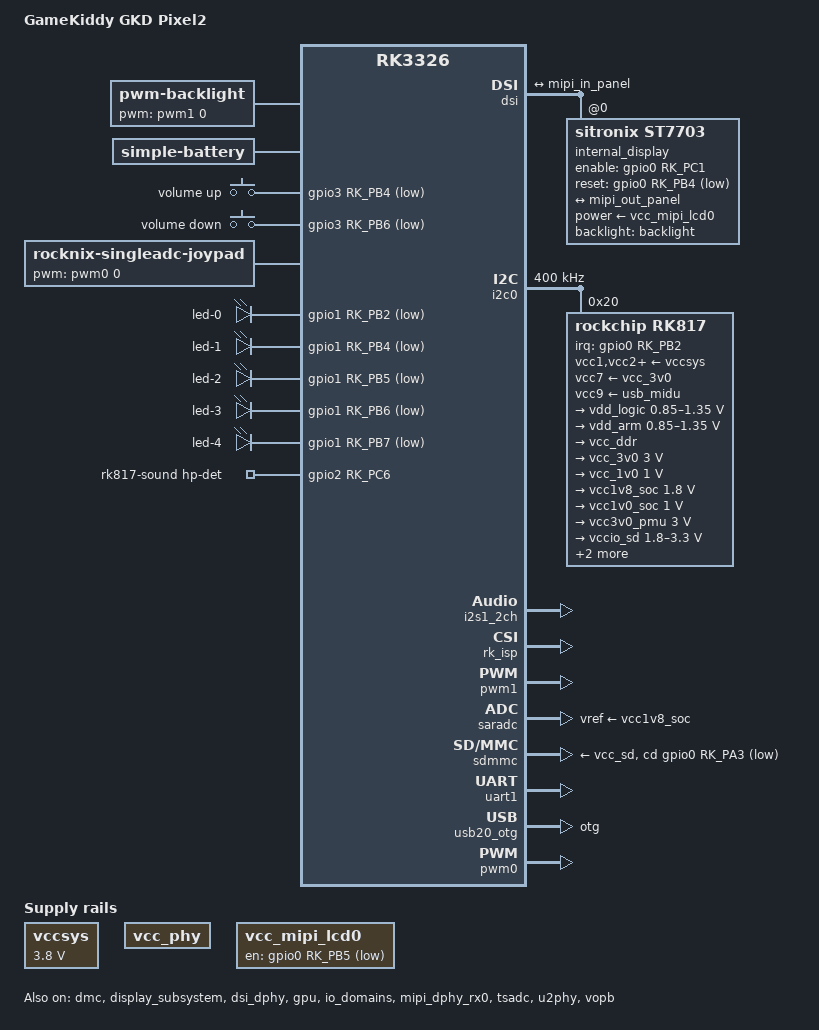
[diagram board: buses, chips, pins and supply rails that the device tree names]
// SPDX-License-Identifier: (GPL-2.0+ OR MIT)
/*
 * GameKiddy GKD Pixel 2 (RK3326S / PX30S), based on the working E6 DTS.
 *
 * Copyright (C) 2022-26 AURKNIX (https://github.com/AveyondFly)
 */

/dts-v1/;
#include <dt-bindings/display/drm_mipi_dsi.h>
#include <dt-bindings/gpio/gpio.h>
#include <dt-bindings/input/input.h>
#include <dt-bindings/leds/common.h>
#include <dt-bindings/pinctrl/rockchip.h>
#include <dt-bindings/soc/rockchip-system-status.h>
#include "rk3326.dtsi"

/ {
	model = "GameKiddy GKD Pixel2";
	compatible = "gamekiddy,gkd-pixel2", "rockchip,rk3326";
	chassis-type = "handset";
	
	aliases {
		mmc0 = &sdmmc;
		mmc1 = &emmc;
		mmc2 = &sdio;
	};
	
	chosen {
		stdout-path = "serial2:1500000n8";
	};

	reserved-memory {
		#address-cells = <2>;
		#size-cells = <2>;
		ranges;

		drm_logo: drm-logo@00000000 {
			compatible = "rockchip,drm-logo";
			reg = <0x0 0x0 0x0 0x0>;
		};

		ramoops: ramoops@110000 {
			compatible = "ramoops";
			reg = <0x0 0x110000 0x0 0xf0000>;
			record-size = <0x20000>;
			console-size = <0x80000>;
			ftrace-size = <0x0>;
			pmsg-size = <0x50000>;
		};
	};
	
	backlight: backlight {
		compatible = "pwm-backlight";
		pwms = <&pwm1 0 25000 1>;
		brightness-levels = <
		0   1   2   3   4   5   6   7
		8   9  10  11  12  13  14  15
		16  17  18  19  20  21  22  23
		24  25  26  27  28  29  30  31
		32  33  34  35  36  37  38  39
		40  41  42  43  44  45  46  47
		48  49  50  51  52  53  54  55
		56  57  58  59  60  61  62  63
		64  65  66  67  68  69  70  71
		72  73  74  75  76  77  78  79
		80  81  82  83  84  85  86  87
		88  89  90  91  92  93  94  95
		96  97  98  99 100 101 102 103
		104 105 106 107 108 109 110 111
		112 113 114 115 116 117 118 119
		120 121 122 123 124 125 126 127
		128 129 130 131 132 133 134 135
		136 137 138 139 140 141 142 143
		144 145 146 147 148 149 150 151
		152 153 154 155 156 157 158 159
		160 161 162 163 164 165 166 167
		168 169 170 171 172 173 174 175
		176 177 178 179 180 181 182 183
		184 185 186 187 188 189 190 191
		192 193 194 195 196 197 198 199
		200 201 202 203 204 205 206 207
		208 209 210 211 212 213 214 215
		216 217 218 219 220 221 222 223
		224 225 226 227 228 229 230 231
		232 233 234 235 236 237 238 239
		240 241 242 243 244 245 246 247
		248 249 250 251 252 253 254 255>;
		default-brightness-level = <200>;
	};
	
	battery: battery {
		compatible = "simple-battery";
		charge-full-design-microamp-hours = <1730000>;
		charge-term-current-microamp = <200000>;
		constant-charge-current-max-microamp = <2000000>;
		constant-charge-voltage-max-microvolt = <4350000>;
		factory-internal-resistance-micro-ohms = <111000>;
		voltage-max-design-microvolt = <4333000>;
		voltage-min-design-microvolt = <3400000>;
		
		ocv-capacity-celsius = <20>;
		ocv-capacity-table-0 =
		<4333000 100>, <4276000 95>, <4217000 90>, <4163000 85>,
		<4107000 80>, <4062000 75>, <4011000 70>, <3967000 65>,
		<3921000 60>, <3878000 55>, <3848000 50>, <3826000 45>,
		<3805000 40>, <3790000 35>, <3776000 30>, <3754000 25>,
		<3738000 20>, <3708000 15>, <3694000 10>, <3643000 5>,
		<3444000 0>;
	};
	
	keys: gpio-keys {
		compatible = "gpio-keys";
		pinctrl-names = "default";
		pinctrl-0 = <&volume_gpio>;
		autorepeat;

		vol-up-key {
			gpios = <&gpio3 RK_PB4 GPIO_ACTIVE_LOW>;
			label = "volume up";
			linux,code = <KEY_VOLUMEUP>;
		};

		vol-down-key {
			gpios = <&gpio3 RK_PB6 GPIO_ACTIVE_LOW>;
			label = "volume down";
			linux,code = <KEY_VOLUMEDOWN>;
		};
	};

	joypad: rocknix-singleadc-joypad {
		compatible = "rocknix-singleadc-joypad";

		joypad-name = "retrogame_joypad";
		joypad-product = <0x1101>;
		joypad-revision = <0x0100>;
		joypad-vendor = <0x484B>;
		status = "okay";
		pinctrl-names = "default";
		pinctrl-0 = <&btn_pins>;
		/* Pixel2 has no analog sticks; mappings below come from vendor DTSI. */
		amux-count = <0>;
		poll-interval = <10>;

		pwms = <&pwm0 0 1000000000 0>;
		pwm-names = "enable";

		sw1 {
			gpios = <&gpio3 RK_PB5 GPIO_ACTIVE_LOW>;
			label = "GPIO DPAD-UP";
			linux,code = <BTN_DPAD_UP>;
		};
		sw2 {
			gpios = <&gpio3 RK_PC4 GPIO_ACTIVE_LOW>;
			label = "GPIO DPAD-DOWN";
			linux,code = <BTN_DPAD_DOWN>;
		};
		sw3 {
			gpios = <&gpio3 RK_PB3 GPIO_ACTIVE_LOW>;
			label = "GPIO DPAD-LEFT";
			linux,code = <BTN_DPAD_LEFT>;
		};
		sw4 {
			gpios = <&gpio3 RK_PA4 GPIO_ACTIVE_LOW>;
			label = "GPIO DPAD-RIGHT";
			linux,code = <BTN_DPAD_RIGHT>;
		};
		sw5 {
			gpios = <&gpio3 RK_PD1 GPIO_ACTIVE_LOW>;
			label = "GPIO KEY BTN-A";
			linux,code = <BTN_EAST>;
		};
		sw6 {
			gpios = <&gpio3 RK_PD2 GPIO_ACTIVE_LOW>;
			label = "GPIO BTN-B";
			linux,code = <BTN_SOUTH>;
		};
		sw7 {
			gpios = <&gpio3 RK_PA6 GPIO_ACTIVE_LOW>;
			label = "GPIO BTN-Y";
			linux,code = <BTN_WEST>;
		};
		sw8 {
			gpios = <&gpio3 RK_PA5 GPIO_ACTIVE_LOW>;
			label = "GPIO BTN-X";
			linux,code = <BTN_NORTH>;
		};
		sw9 {
			gpios = <&gpio3 RK_PC5 GPIO_ACTIVE_LOW>;
			label = "GPIO BTN_MODE";
			linux,code = <BTN_MODE>;
		};
		/* Pixel2 has no stick-click switches; expose stable placeholders. */
		sw10 {
			gpios = <&gpio2 RK_PB1 GPIO_ACTIVE_LOW>;
			label = "BTN_THUMBL";
			linux,code = <BTN_THUMBL>;
		};
		sw11 {
			gpios = <&gpio3 RK_PC2 GPIO_ACTIVE_LOW>;
			label = "GPIO BTN_SELECT";
			linux,code = <BTN_SELECT>;
		};
		sw12 {
			gpios = <&gpio3 RK_PD3 GPIO_ACTIVE_LOW>;
			label = "GPIO BTN_START";
			linux,code = <BTN_START>;
		};
		sw13 {
			gpios = <&gpio2 RK_PB0 GPIO_ACTIVE_LOW>;
			label = "BTN_THUMBR";
			linux,code = <BTN_THUMBR>;
		};
		sw15 {
			gpios = <&gpio3 RK_PC0 GPIO_ACTIVE_LOW>;
			label = "GPIO TOP-LEFT";
			linux,code = <BTN_TL>;
		};
		sw16 {
			gpios = <&gpio3 RK_PB2 GPIO_ACTIVE_LOW>;
			label = "GPIO TOP-RIGHT";
			linux,code = <BTN_TR>;
		};
		sw20 {
			gpios = <&gpio3 RK_PC1 GPIO_ACTIVE_LOW>;
			label = "GPIO TOP-LEFT2";
			linux,code = <BTN_TL2>;
		};
		sw21 {
			gpios = <&gpio3 RK_PC3 GPIO_ACTIVE_LOW>;
			label = "GPIO TOP-RIGHT2";
			linux,code = <BTN_TR2>;
		};
	};
	
	
	leds: gpio-leds {
		compatible = "gpio-leds";
		pinctrl-0 = <&led_pins>;
		pinctrl-names = "default";

		led-0 {
			default-state = "on";
			gpios = <&gpio1 RK_PB2 GPIO_ACTIVE_LOW>;
			function = LED_FUNCTION_STATUS;
		};
	
		led-1 {
			default-state = "on";
			gpios = <&gpio1 RK_PB4 GPIO_ACTIVE_LOW>;
			function = LED_FUNCTION_STATUS;
		};
		
		led-2 {
			default-state = "on";
			gpios = <&gpio1 RK_PB5 GPIO_ACTIVE_LOW>;
			function = LED_FUNCTION_STATUS;
		};
		led-3 {
			default-state = "on";
			gpios = <&gpio1 RK_PB6 GPIO_ACTIVE_LOW>;
			function = LED_FUNCTION_STATUS;
		};
		led-4 {
			default-state = "on";
			gpios = <&gpio1 RK_PB7 GPIO_ACTIVE_LOW>;
			function = LED_FUNCTION_STATUS;
		};
	};
	
	
	rk817-sound {
		compatible = "rockchip,multicodecs-card";
		rockchip,card-name = "rockchip-rk817";
		hp-det-gpio = <&gpio2 RK_PC6 GPIO_ACTIVE_HIGH>;
		rocknix,auto-playback-path;
		rockchip,format = "i2s";
		rockchip,mclk-fs = <256>;
		rockchip,cpu = <&i2s1_2ch>;
		rockchip,codec = <&rk817_codec>;
		pinctrl-names = "default";
		pinctrl-0 = <&hp_det>;
		rockchip,audio-routing =
			"Headphone", "HPOL",
			"Headphone", "HPOR",
			"Speaker", "SPKO";
	};
	
	vccsys: vccsys {
		compatible = "regulator-fixed";
		regulator-name = "vcc3v8_sys";
		regulator-always-on;
		regulator-min-microvolt = <3800000>;
		regulator-max-microvolt = <3800000>;
	};
	
	vcc-phy-regulator {
		compatible = "regulator-fixed";
		regulator-name = "vcc_phy";
		regulator-always-on;
		regulator-boot-on;
	};
	
	vcc_mipi_lcd0: regulator-vcc-mipi-lcd0 {
		compatible = "regulator-fixed";
		regulator-name = "vcc_mipi_lcd0";
		gpio = <&gpio0 RK_PB5 GPIO_ACTIVE_LOW>;
		pinctrl-0 = <&vcc_mipi_lcd_n>;
		pinctrl-names = "default";
		regulator-boot-on;

		regulator-state-mem {
			regulator-off-in-suspend;
		};
	};
};

&dmc {
	center-supply = <&vdd_logic>;
	system-status-freq = <
		/* system status         freq(KHz) — px30s-dmc-opp: 194/328/666 */
		SYS_STATUS_NORMAL       666000
		SYS_STATUS_REBOOT       328000
		SYS_STATUS_SUSPEND      194000
		SYS_STATUS_VIDEO_1080P  666000
		SYS_STATUS_BOOST        666000
		SYS_STATUS_ISP          666000
		SYS_STATUS_PERFORMANCE  666000
	>;
	auto-min-freq = <328000>;
	auto-freq-en = <0>;
	status = "okay";
};

&bus_apll {
	bus-supply = <&vdd_logic>;
	status = "okay";
};

&cpu0 {
	cpu-supply = <&vdd_arm>;
};

&cpu1 {
	cpu-supply = <&vdd_arm>;
};

&cpu2 {
	cpu-supply = <&vdd_arm>;
};

&cpu3 {
	cpu-supply = <&vdd_arm>;
};

&cru {
	assigned-clocks = <&cru PLL_NPLL>,
	<&cru ACLK_BUS_PRE>, <&cru ACLK_PERI_PRE>,
	<&cru HCLK_BUS_PRE>, <&cru HCLK_PERI_PRE>,
	<&cru PCLK_BUS_PRE>, <&cru SCLK_GPU>;
	
	assigned-clock-rates = <1188000000>,
	<200000000>, <200000000>,
	<150000000>, <150000000>,
	<100000000>, <200000000>;
};

&display_subsystem {
	status = "okay";
	logo-memory-region = <&drm_logo>;

	route {
		route_lvds: route-lvds {
			status = "disabled";
			logo,uboot = "logo.bmp";
			logo,kernel = "logo_kernel.bmp";
			logo,mode = "center";
			charge_logo,mode = "center";
			connect = <&vopb_out_lvds>;
		};

		route_dsi: route-dsi {
			status = "okay";
			logo,uboot = "logo.bmp";
			logo,kernel = "logo_kernel.bmp";
			logo,mode = "center";
			charge_logo,mode = "center";
			connect = <&vopb_out_dsi>;
		};

		route_rgb: route-rgb {
			status = "disabled";
			logo,uboot = "logo.bmp";
			logo,kernel = "logo_kernel.bmp";
			logo,mode = "center";
			charge_logo,mode = "center";
			connect = <&vopb_out_rgb>;
		};
	};
};

&dsi {
	status = "okay";
	
	ports {
		mipi_out: port@1 {
			reg = <1>;
			
			mipi_out_panel: endpoint {
				remote-endpoint = <&mipi_in_panel>;
			};
		};
	};
	
	internal_display: panel@0 {
		compatible = "sitronix,st7703", "simple-panel-dsi";
		reg = <0>;
		backlight = <&backlight>;
		power-supply = <&vcc_mipi_lcd0>;
		enable-gpios = <&gpio0 RK_PC1 GPIO_ACTIVE_HIGH>;
		reset-gpios = <&gpio0 RK_PB4 GPIO_ACTIVE_LOW>;
		pinctrl-names = "default";
		pinctrl-0 = <&dsi0_lcd_gpio>;
		rotation = <270>;

		prepare-delay-ms = <2>;
		reset-delay-ms = <1>;
		init-delay-ms = <20>;
		enable-delay-ms = <120>;
		disable-delay-ms = <50>;
		unprepare-delay-ms = <20>;

		width-mm = <68>;
		height-mm = <121>;

		dsi,flags = <2563>;
		dsi,format = <0>;
		dsi,lanes = <2>;

		panel-init-sequence = [39 00 06 FF 77 01 00 00 13 15 00 02 EF 08 39 00 06 FF 77 01 00 00 10 39 00 03 C0 4F 00 39 00 03 C1 10 0C 39 00 03 C2 01 14 15 00 02 CC 10 39 00 11 B0 00 0B 13 0D 10 07 02 08 07 1F 04 11 0F 28 2F 1F 39 00 11 B1 00 0C 13 0C 10 05 02 08 08 1E 05 13 11 27 30 1F 39 00 06 FF 77 01 00 00 11 15 00 02 B0 4D 15 00 02 B1 4D 15 00 02 B2 87 15 00 02 B3 80 15 00 02 B5 45 15 00 02 B7 85 15 00 02 B8 20 15 00 02 C0 09 15 00 02 C1 78 15 00 02 C2 78 15 64 02 D0 88 39 00 04 E0 00 00 02 39 00 0C E1 04 B0 06 B0 05 B0 07 B0 00 44 44 39 00 0D E2 20 20 44 44 96 A0 00 00 96 A0 00 00 39 00 05 E3 00 00 22 22 39 00 03 E4 44 44 39 00 11 E5 0C 90 B0 A0 0E 92 B0 A0 08 8C B0 A0 0A 8E B0 A0 39 00 05 E6 00 00 22 22 39 00 03 E7 44 44 39 00 11 E8 0D 91 B0 A0 0F 93 B0 A0 09 8D B0 A0 0B 8F B0 A0 39 00 03 E9 36 00 39 00 08 EB 00 00 E4 E4 44 88 40 39 00 11 ED C1 A2 BF 0F 67 45 FF FF FF FF 54 76 F0 FB 2A 1C 39 00 07 EF 10 0D 04 08 3F 1F 39 00 06 FF 77 01 00 00 13 39 00 03 E8 00 0E 39 00 06 FF 77 01 00 00 00 05 78 01 11 39 00 06 FF 77 01 00 00 13 39 0A 03 E8 00 0C 39 00 03 E8 00 00 39 00 06 FF 77 01 00 00 00 05 32 01 29];

		/*
		 * ST7703 requires time to complete DISPLAY_OFF and SLEEP_IN
		 * before reset and panel power are removed on suspend.
		 */
		panel-exit-sequence = [
			05 14 01 28
			05 78 01 10
		];

		display-timings {
			native-mode = <&timing0>;

			timing0: timing0 {
				clock-frequency = <25000000>;
				hactive = <480>;
				vactive = <640>;
				hfront-porch = <40>;
				hsync-len = <10>;
				hback-porch = <40>;
				vfront-porch = <40>;
				vsync-len = <10>;
				vback-porch = <40>;
				hsync-active = <0>;
				vsync-active = <0>;
				de-active = <0>;
				pixelclk-active = <0>;
			};
		};

		port {
			mipi_in_panel: endpoint {
				remote-endpoint = <&mipi_out_panel>;
			};
		};
	};
};

&dsi_dphy {
	compatible = "rockchip,px30s-dsi-dphy", "rockchip,px30-dsi-dphy";
	status = "okay";
};

&gpu {
	mali-supply = <&vdd_logic>;
	status = "okay";
};

&i2c0 {
	clock-frequency = <400000>;
	i2c-scl-falling-time-ns = <16>;
	i2c-scl-rising-time-ns = <280>;
	status = "okay";
	
	rk817: pmic@20 {
		compatible = "rockchip,rk817";
		reg = <0x20>;
		interrupt-parent = <&gpio0>;
		interrupts = <RK_PB2 IRQ_TYPE_LEVEL_LOW>;
		clock-output-names = "rk808-clkout1", "xin32k";
		pinctrl-names = "default";
		pinctrl-0 = <&pmic_int>;
		rockchip,system-power-controller;
		wakeup-source;
		#clock-cells = <1>;
		
		vcc1-supply = <&vccsys>;
		vcc2-supply = <&vccsys>;
		vcc3-supply = <&vccsys>;
		vcc4-supply = <&vccsys>;
		vcc5-supply = <&vccsys>;
		vcc6-supply = <&vccsys>;
		vcc7-supply = <&vcc_3v0>;
		vcc8-supply = <&vccsys>;
		vcc9-supply = <&usb_midu>;
		
		regulators {
			vdd_logic: DCDC_REG1 {
				regulator-name = "vdd_logic";
				regulator-min-microvolt = <850000>;
				regulator-max-microvolt = <1350000>;
				regulator-ramp-delay = <6001>;
				regulator-initial-mode = <0x2>;
				regulator-always-on;
				regulator-boot-on;
				
				regulator-state-mem {
					regulator-on-in-suspend;
					regulator-suspend-microvolt = <950000>;
				};
			};
			
			vdd_arm: DCDC_REG2 {
				regulator-name = "vdd_arm";
				regulator-min-microvolt = <850000>;
				regulator-max-microvolt = <1350000>;
				regulator-ramp-delay = <6001>;
				regulator-initial-mode = <0x2>;
				regulator-always-on;
				regulator-boot-on;
				
				regulator-state-mem {
					regulator-off-in-suspend;
					regulator-suspend-microvolt = <950000>;
				};
			};
			
			vcc_ddr: DCDC_REG3 {
				regulator-name = "vcc_ddr";
				regulator-initial-mode = <0x2>;
				regulator-always-on;
				regulator-boot-on;
				
				regulator-state-mem {
					regulator-on-in-suspend;
				};
			};
			
			vcc_3v0: DCDC_REG4 {
				regulator-name = "vcc_3v0";
				regulator-min-microvolt = <3000000>;
				regulator-max-microvolt = <3000000>;
				regulator-initial-mode = <0x2>;
				regulator-always-on;
				regulator-boot-on;
				
				regulator-state-mem {
					regulator-off-in-suspend;
					regulator-suspend-microvolt = <3000000>;
				};
			};
			
			vcc_1v0: LDO_REG1 {
				regulator-name = "vcc_1v0";
				regulator-always-on;
				regulator-boot-on;
				regulator-min-microvolt = <1000000>;
				regulator-max-microvolt = <1000000>;
				
				regulator-state-mem {
					regulator-on-in-suspend;
					regulator-suspend-microvolt = <1000000>;
				};
			};
			
			vcc1v8_soc: LDO_REG2 {
				regulator-name = "vcc1v8_soc";
				regulator-min-microvolt = <1800000>;
				regulator-max-microvolt = <1800000>;
				regulator-always-on;
				regulator-boot-on;
				
				regulator-state-mem {
					regulator-on-in-suspend;
					regulator-suspend-microvolt = <1800000>;
				};
			};
			
			vcc1v0_soc: LDO_REG3 {
				regulator-name = "vcc1v0_soc";
				regulator-min-microvolt = <1000000>;
				regulator-max-microvolt = <1000000>;
				regulator-always-on;
				regulator-boot-on;
				
				regulator-state-mem {
					regulator-on-in-suspend;
					regulator-suspend-microvolt = <1000000>;
				};
			};
			
			vcc3v0_pmu: LDO_REG4 {
				regulator-name = "vcc3v0_pmu";
				regulator-min-microvolt = <3000000>;
				regulator-max-microvolt = <3000000>;
				regulator-always-on;
				regulator-boot-on;
				
				regulator-state-mem {
					regulator-on-in-suspend;
					regulator-suspend-microvolt = <3000000>;
				};
			};
			
			vccio_sd: LDO_REG5 {
				regulator-name = "vccio_sd";
				regulator-min-microvolt = <1800000>;
				regulator-max-microvolt = <3300000>;
				regulator-always-on;
				regulator-boot-on;
				
				regulator-state-mem {
					regulator-on-in-suspend;
					regulator-suspend-microvolt = <3300000>;
				};
			};
			
			vcc_sd: LDO_REG6 {
				regulator-name = "vcc_sd";
				regulator-min-microvolt = <3300000>;
				regulator-max-microvolt = <3300000>;
				regulator-always-on;
				regulator-boot-on;
				
				regulator-state-mem {
					regulator-on-in-suspend;
					regulator-suspend-microvolt = <3300000>;
				};
			};
			
			vcc2v8_dvp: LDO_REG7 {
				regulator-name = "vcc2v8_dvp";
				regulator-min-microvolt = <2800000>;
				regulator-max-microvolt = <2800000>;
				regulator-boot-on;
				
				regulator-state-mem {
					regulator-off-in-suspend;
					regulator-suspend-microvolt = <2800000>;
				};
			};
			
			vcc1v8_dvp: LDO_REG8 {
				regulator-name = "vcc1v8_dvp";
				regulator-min-microvolt = <1800000>;
				regulator-max-microvolt = <1800000>;
				regulator-boot-on;
				
				regulator-state-mem {
					regulator-off-in-suspend;
					regulator-suspend-microvolt = <1800000>;
				};
			};
			
			vdd1v5_dvp: LDO_REG9 {
				regulator-min-microvolt = <1500000>;
				regulator-max-microvolt = <1500000>;
				regulator-name = "vdd1v5_dvp";
				regulator-boot-on;
				
				regulator-state-mem {
					regulator-off-in-suspend;
					regulator-suspend-microvolt = <1500000>;
				};
			};
			
			usb_midu: BOOST {
				regulator-name = "usb_midu";
				/* Original Pixel2 DTB fixes the OTG boost at 5 V. */
				regulator-min-microvolt = <5000000>;
				regulator-max-microvolt = <5000000>;
				regulator-always-on;
				regulator-boot-on;
			};

			otg_switch: OTG_SWITCH {
				regulator-name = "otg_switch";

				regulator-state-mem {
					regulator-off-in-suspend;
				};
			};
			
		};
		
		battery {
			compatible = "rk817,battery";
			/* Values decoded from the vendor Pixel2 DTB. */
			ocv_table = <3444 3643 3694 3708 3738 3754 3776 3790
				     3805 3826 3848 3878 3921 3967 4011 4062
				     4107 4163 4217 4276 4333>;
			design_capacity = <1730>;
			design_qmax = <1903>;
			bat_res = <111>;
			sleep_enter_current = <300>;
			sleep_exit_current = <300>;
			sleep_filter_current = <100>;
			power_off_thresd = <3400>;
			zero_algorithm_vol = <3950>;
			max_soc_offset = <60>;
			monitor_sec = <5>;
			sample_res = <10>;
			virtual_power = <0>;
			fb_temperature = <105>;
			energy_mode = <0>;
			zero_reserve_dsoc = <10>;
			low_power_sleep = <0>;
		};
		
		rk817_charger: charger {
			compatible = "rk817,charger";
			min_input_voltage = <4500>;
			max_input_current = <1500>;
			max_chrg_current = <1500>;
			max_chrg_voltage = <4200>;
			chrg_term_mode = <0>;
			chrg_finish_cur = <200>;
			virtual_power = <0>;
			dc_det_adc = <0>;
			otg5v_suspend_enable = <1>;
			power_dc2otg = <0>;
			gate_function_disable = <1>;
			extcon = <&u2phy>;
			sample_res = <10>;
			/* Shared Type-C: use PMIC PLUG_IN_STS for charger detect */
			rockchip,charger-use-pmic-plug;
		};
		
		rk817_codec: codec {
			compatible = "rockchip,rk817-codec";
			#sound-dai-cells = <0>;
			clocks = <&cru SCLK_I2S1_OUT>;
			clock-names = "mclk";
			pinctrl-names = "default";
			pinctrl-0 = <&i2s1_2ch_mclk>;
			hp-volume = <20>;
			spk-volume = <3>;
			status = "okay";
		};
	};
};

/* I2S 1 Channel Used Header(P2):1(GPIO2.C3),2(.C2), 3(.C1), 4(.C5), 5(.C4) */
&i2s1_2ch {
	status = "okay";
	#sound-dai-cells = <0>;
};

&io_domains {
	/* Match the original Pixel2 board DTB. */
	vccio1-supply = <&vcc_3v0>;
	vccio2-supply = <&vccio_sd>;
	vccio3-supply = <&vcc_3v0>;
	vccio4-supply = <&vcc_3v0>;
	vccio5-supply = <&vcc_3v0>;
	vccio6-supply = <&vcc_3v0>;
	status = "okay";
};

&rk_isp {
	status = "okay";
};

&isp_mmu {
	status = "okay";
};

&pmu_io_domains {
	pmuio1-supply = <&vcc3v0_pmu>;
	pmuio2-supply = <&vcc3v0_pmu>;
	status = "okay";
};

&mipi_dphy_rx0 {
	status = "okay";
};

&pwm1 {
	status = "okay";
};

&saradc {
	vref-supply = <&vcc1v8_soc>;
	status = "okay";
};

&sdmmc {
	cap-sd-highspeed;
	card-detect-delay = <200>;
	cd-gpios = <&gpio0 RK_PA3 GPIO_ACTIVE_LOW>; /*[> ff370000 PD_SDCARD CD GPIO <]*/
	sd-uhs-sdr12;
	sd-uhs-sdr25;
	sd-uhs-sdr50;
	sd-uhs-sdr104;
	vmmc-supply = <&vcc_sd>;
	vqmmc-supply = <&vccio_sd>;
	status = "okay";
};

&sdio {
	status = "disabled";
};


&emmc {
	no-sdio;
	no-sd;
	disable-wp;
	non-removable;
	num-slots = <0x01>;
	status = "disabled";
};

&tsadc {
	compatible = "rockchip,px30s-tsadc";
	status = "okay";
};

&otp {
	compatible = "rockchip,px30s-otp", "rockchip,px30-otp";
};

&u2phy {
	status = "okay";
	
	u2phy_host: host-port {
		status = "okay";
	};
	
	u2phy_otg: otg-port {
		/*
		 * OTG_SWITCH is the physical 5-V gate. It must be enabled only
		 * while the PHY has selected the host role.
		 */
		vbus-supply = <&otg_switch>;
		/* Do not report self-supplied host VBUS as a DCP charger. */
		rocknix,skip-host-charger-detect;
		status = "okay";
	};
};

/* FIQ Header(P2): 2(RXD:GPIO2.B4),3(TXD:.B6) */
&uart2 {
	status = "disabled";
};

&uart1 {
	status = "okay";
};

&usb20_otg {
	status = "okay";
	dr_mode = "otg";
	extcon = <&u2phy>;
};

&vopb {
	status = "okay";
};

&vopb_mmu {
	status = "okay";
};

&pwm0 {
	status = "okay";
};

&pinctrl {
	btns {
		btn_pins: btn-pins {
			rockchip,pins =
			<3 RK_PB5 RK_FUNC_GPIO &pcfg_pull_up>,
			<3 RK_PC4 RK_FUNC_GPIO &pcfg_pull_up>,
			<3 RK_PB3 RK_FUNC_GPIO &pcfg_pull_up>,
			<3 RK_PA4 RK_FUNC_GPIO &pcfg_pull_up>,
			<3 RK_PD1 RK_FUNC_GPIO &pcfg_pull_up>,
			<3 RK_PD2 RK_FUNC_GPIO &pcfg_pull_up>,
			<3 RK_PA5 RK_FUNC_GPIO &pcfg_pull_up>,
			<3 RK_PA6 RK_FUNC_GPIO &pcfg_pull_up>,
			<3 RK_PC5 RK_FUNC_GPIO &pcfg_pull_up>,
			<2 RK_PB1 RK_FUNC_GPIO &pcfg_pull_up>,
			<2 RK_PB0 RK_FUNC_GPIO &pcfg_pull_up>,
			<3 RK_PD3 RK_FUNC_GPIO &pcfg_pull_up>,
			<3 RK_PC2 RK_FUNC_GPIO &pcfg_pull_up>,
			<3 RK_PC0 RK_FUNC_GPIO &pcfg_pull_up>,
			<3 RK_PC1 RK_FUNC_GPIO &pcfg_pull_up>,
			<3 RK_PB2 RK_FUNC_GPIO &pcfg_pull_up>,
			<3 RK_PC3 RK_FUNC_GPIO &pcfg_pull_up>;
		};
	};

	keys {
		volume_gpio: volume-gpio {
			rockchip,pins =
			<3 RK_PB4 RK_FUNC_GPIO &pcfg_pull_up>,
			<3 RK_PB6 RK_FUNC_GPIO &pcfg_pull_up>;
		};
	};

	headphone {
		hp_det: hp-det {
			rockchip,pins = <2 RK_PC6 RK_FUNC_GPIO &pcfg_pull_none>;
		};
	};

	dsi0-lcd {
		dsi0_lcd_gpio: dsi0-lcd-gpio {
			rockchip,pins =
			<0 RK_PC1 RK_FUNC_GPIO &pcfg_pull_none>,
			<0 RK_PB4 RK_FUNC_GPIO &pcfg_pull_up>;
		};
	};

	vcc-mipi-lcd {
		vcc_mipi_lcd_n: vcc-mipi-lcd-n {
			rockchip,pins = <0 RK_PB5 RK_FUNC_GPIO &pcfg_pull_none>;
		};
	};
	
	gpio-led {
		led_pins: led-pins {
			rockchip,pins =
			<1 RK_PB2 RK_FUNC_GPIO &pcfg_pull_none>,
			<1 RK_PB4 RK_FUNC_GPIO &pcfg_pull_none>,
			<1 RK_PB5 RK_FUNC_GPIO &pcfg_pull_none>,
			<1 RK_PB6 RK_FUNC_GPIO &pcfg_pull_none>,
			<1 RK_PB7 RK_FUNC_GPIO &pcfg_pull_none>;
		};
	};
	
	pmic {
		dc_det: dc-det {
			rockchip,pins = <0 RK_PB3 RK_FUNC_GPIO &pcfg_pull_up>;
		};
		
		pmic_int: pmic-int {
			rockchip,pins = <0 RK_PB2 RK_FUNC_GPIO &pcfg_pull_up>;
		};
		
		soc_slppin_gpio: soc_slppin_gpio {
			rockchip,pins = <0 RK_PA4 RK_FUNC_GPIO &pcfg_output_low>;
		};
		
		soc_slppin_rst: soc_slppin_rst {
			rockchip,pins = <0 RK_PA4 2 &pcfg_pull_none>;
		};
		
		soc_slppin_slp: soc_slppin_slp {
			rockchip,pins = <0 RK_PA4 1 &pcfg_pull_none>;
		};
	};
};
